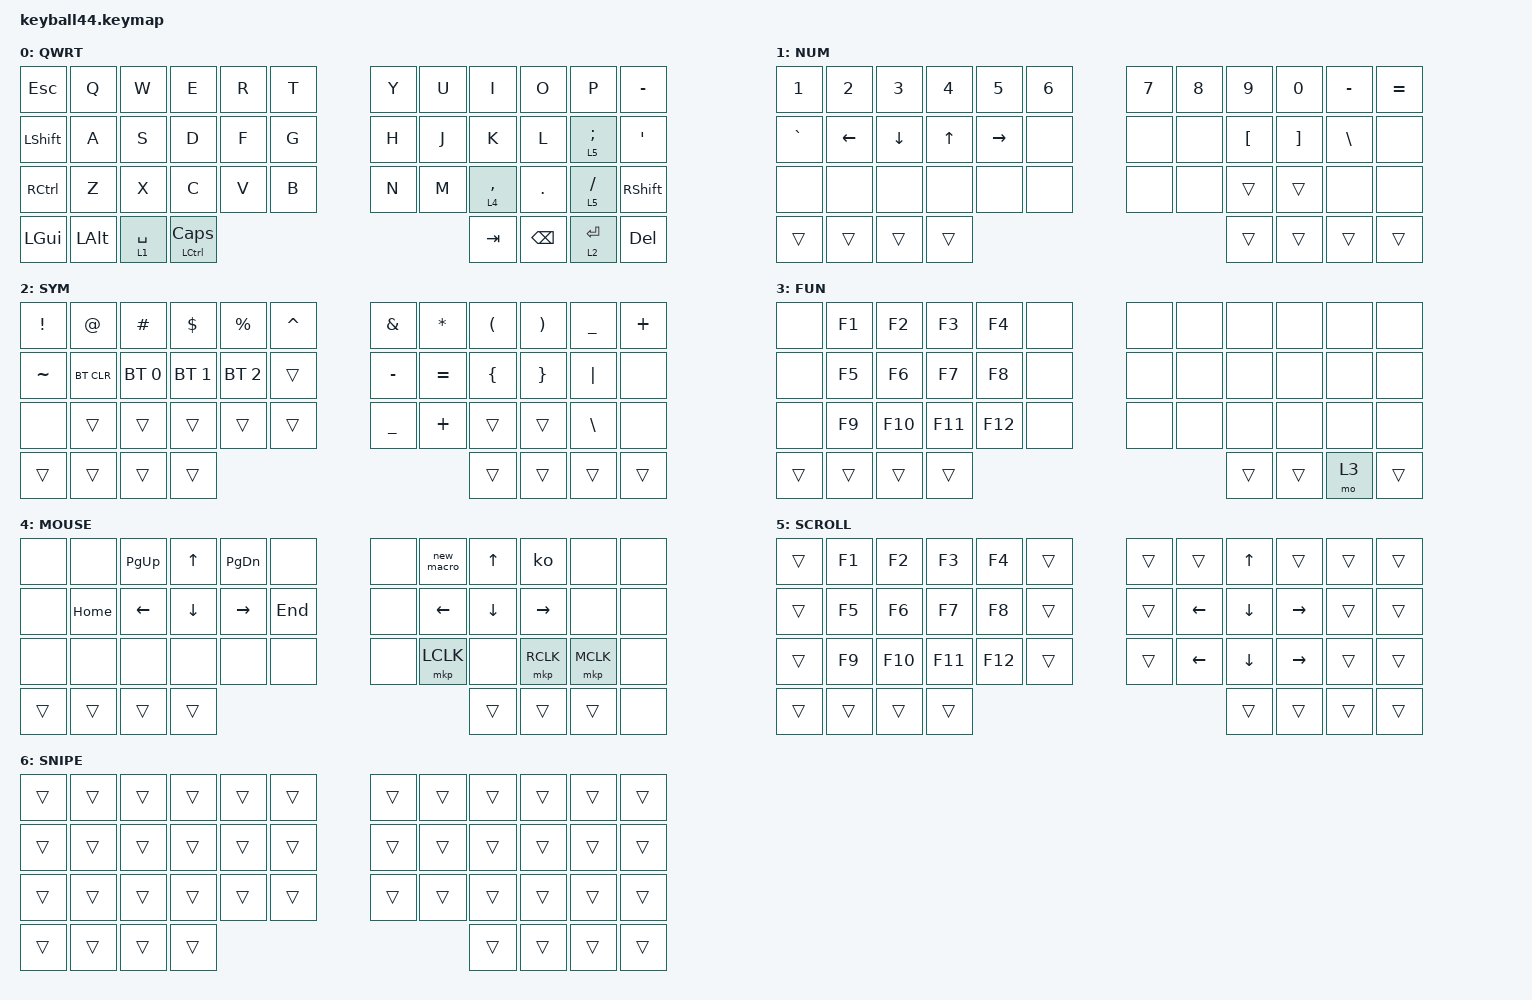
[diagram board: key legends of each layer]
#define DEFAULT 0
#define NUM     1
#define SYM     2
#define FUN     3
#define MOUSE   4
#define SCROLL  5
#define SNIPE   6

#include <behaviors/mouse_keys.dtsi>
#include <dt-bindings/zmk/mouse.h>
#include <behaviors.dtsi>
#include <dt-bindings/zmk/bt.h>
#include <dt-bindings/zmk/keys.h>
#include <dt-bindings/zmk/pointing.h>

&lt {
    tapping-term-ms = <240>;
    flavor = "balanced";
    quick-tap-ms = <150>;
};

&mt {
    tapping-term-ms = <200>;
    flavor = "tap-preferred";
    quick-tap-ms = <150>;
};

&caps_word { continue-list = <UNDERSCORE MINUS>; };

/ {
    // custom shift using mod-morph 

    behaviors {
        cmqus: comma_question {
            compatible = "zmk,behavior-mod-morph";
            label = "COMMA_QUESTION";
            #binding-cells = <0>;
            bindings = <&kp COMMA>, <&kp QUESTION>;

            mods = <(MOD_LSFT|MOD_RSFT)>;
        };

        dtsmi: dot_semi {
            compatible = "zmk,behavior-mod-morph";
            label = "DOT_SEMI";
            #binding-cells = <0>;
            bindings = <&kp DOT>, <&kp SEMI>;

            mods = <(MOD_LSFT|MOD_RSFT)>;
        };
    };

    macros {
        new_macro: new_macro {
            compatible = "zmk,behavior-macro";
            #binding-cells = <0>;
            bindings = <&kp K &kp U>;
            label = "NEW_MACRO";
        };

        ki: ki {
            compatible = "zmk,behavior-macro";
            #binding-cells = <0>;
            bindings = <&kp K &kp I>;
            label = "KI";
        };

        ko: ko {
            compatible = "zmk,behavior-macro";
            #binding-cells = <0>;
            bindings = <&kp K &kp O>;
            label = "KO";
        };
    };

    keymap {
        compatible = "zmk,keymap";

        default_layer {
            label = "QWRT";
            bindings = <
&kp ESCAPE      &kp Q     &kp W        &kp E               &kp R    &kp T                     &kp Y      &kp U  &kp I        &kp O    &kp P            &kp MINUS
&kp LEFT_SHIFT  &kp A     &kp S        &kp D               &kp F    &kp G                     &kp H      &kp J  &kp K        &kp L    &lt 5 SEMICOLON  &kp SQT
&kp RCTRL       &kp Z     &kp X        &kp C               &kp V    &kp B                     &kp N      &kp M  &lt 4 COMMA  &kp DOT  &lt 5 SLASH      &kp RIGHT_SHIFT
&kp LGUI        &kp LALT  &lt 1 SPACE  &mt LCTRL CAPSLOCK  &kp TAB             &kp BACKSPACE  &lt 2 RET                                                &kp DELETE
            >;
        };

        number_layer {
            label = "NUM";
            bindings = <
&kp NUMBER_1  &kp NUMBER_2  &kp NUMBER_3  &kp NUMBER_4  &kp N5     &kp NUMBER_6              &kp N7  &kp N8  &kp N9            &kp N0             &kp MINUS  &kp EQUAL
&kp GRAVE     &kp LEFT      &kp DOWN      &kp UP_ARROW  &kp RIGHT  &none                     &none   &none   &kp LEFT_BRACKET  &kp RIGHT_BRACKET  &kp BSLH   &none
&none         &none         &none         &none         &none      &none                     &none   &none   &trans            &trans             &none      &none
&trans        &trans        &trans        &trans        &trans                       &trans  &trans                                                          &trans
            >;
        };

        symbol_layer {
            label = "SYM";
            bindings = <
&kp EXCLAMATION  &kp AT_SIGN  &kp HASH      &kp DOLLAR    &kp PERCENT   &kp CARET              &kp AMPERSAND   &kp ASTERISK  &kp LEFT_PARENTHESIS  &kp RIGHT_PARENTHESIS  &kp UNDERSCORE  &kp PLUS
&kp TILDE        &bt BT_CLR   &bt BT_SEL 0  &bt BT_SEL 1  &bt BT_SEL 2  &trans                 &kp MINUS       &kp EQUAL     &kp LEFT_BRACE        &kp RIGHT_BRACE        &kp PIPE        &none
&none            &trans       &trans        &trans        &trans        &trans                 &kp UNDERSCORE  &kp PLUS      &trans                &trans                 &kp BSLH        &none
&trans           &trans       &trans        &trans        &trans                       &trans  &trans                                                                                     &trans
            >;
        };

        function_layer {
            label = "FUN";
            bindings = <
&none   &kp F1  &kp F2   &kp F3   &kp F4   &none              &none  &none  &none  &none  &none  &none
&none   &kp F5  &kp F6   &kp F7   &kp F8   &none              &none  &none  &none  &none  &none  &none
&none   &kp F9  &kp F10  &kp F11  &kp F12  &none              &none  &none  &none  &none  &none  &none
&trans  &trans  &trans   &trans   &trans              &trans  &mo 3                              &trans
            >;
        };

        mouse_layer {
            label = "MOUSE";
            bindings = <
&none   &none     &kp PG_UP       &kp UP_ARROW    &kp PAGE_DOWN  &none                &none   &new_macro      &kp UP_ARROW    &ko              &none      &none
&none   &kp HOME  &kp LEFT_ARROW  &kp DOWN_ARROW  &kp RIGHT      &kp END              &none   &kp LEFT_ARROW  &kp DOWN_ARROW  &kp RIGHT_ARROW  &none      &none
&none   &none     &none           &none           &none          &none                &none   &mkp LCLK       &none           &mkp RCLK        &mkp MCLK  &none
&trans  &trans    &trans          &trans          &trans                      &trans  &trans                                                              &none
            >;
        };

        scroll_layer {
            label = "SCROLL";
            bindings = <
&trans  &kp F1  &kp F2   &kp F3   &kp F4   &trans              &trans  &trans          &kp UP_ARROW    &trans           &trans  &trans
&trans  &kp F5  &kp F6   &kp F7   &kp F8   &trans              &trans  &kp LEFT_ARROW  &kp DOWN_ARROW  &kp RIGHT_ARROW  &trans  &trans
&trans  &kp F9  &kp F10  &kp F11  &kp F12  &trans              &trans  &kp LEFT_ARROW  &kp DOWN_ARROW  &kp RIGHT_ARROW  &trans  &trans
&trans  &trans  &trans   &trans   &trans               &trans  &trans                                                           &trans
            >;
        };

        snipe_layer {
            label = "SNIPE";
            bindings = <
&trans  &trans  &trans  &trans  &trans  &trans              &trans  &trans  &trans  &trans  &trans  &trans
&trans  &trans  &trans  &trans  &trans  &trans              &trans  &trans  &trans  &trans  &trans  &trans
&trans  &trans  &trans  &trans  &trans  &trans              &trans  &trans  &trans  &trans  &trans  &trans
&trans  &trans  &trans  &trans  &trans              &trans  &trans                                  &trans
            >;
        };
    };
};
